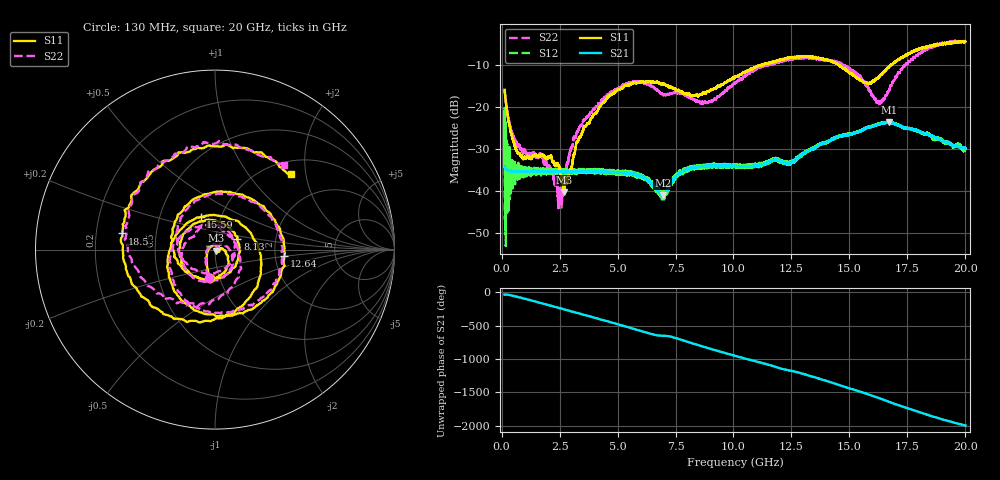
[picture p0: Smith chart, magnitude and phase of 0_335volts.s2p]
!Created with skrf (http://scikit-rf.org).
# GHz S RI R 50.0
!freq ReS11 ImS11 ReS21 ImS21 ReS12 ImS12 ReS22 ImS22
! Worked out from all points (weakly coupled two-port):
!   20013 points, 130 MHz to 20 GHz, reference 50 ohm
!   highest |S21| = -23.65 dB at 16.69 GHz (marker M1); lowest = -41.0 dB at 6.953 GHz (marker M2)
!   lowest |S11| = -40.2 dB at 2.691 GHz (marker M3), VSWR 1.02, Z = 50.8 - j0.573 ohm
!   |S11| at or under -10 dB: start of sweep to 11.27 GHz; 14.52 GHz to 16.79 GHz (2.267 GHz wide, 14.5 % of centre); 16.8052 GHz to 16.82683 GHz (21.63 MHz wide, 0.129 % of centre) (the widest 3 of 10)
!   |S22| runs from -44.1 to -4.2 dB; largest |S21 - S12| = 0.1
!   S11 on the Smith chart (normalised r, x): 130 MHz: 0.90, -0.29; 8.13 GHz: 1.27, +0.16; 12.64 GHz: 2.25, -0.19; 15.59 GHz: 0.80, +0.31; 18.5 GHz: 0.31, +0.08; 20 GHz: 1.31, +1.65
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0.13  -0.0282 -0.157  0.0159 -0.0117  0.0473 -0.0329  -0.0358 -0.1576
0.305  -0.0473 -0.0476  0.0135 -0.0113  0.00915 -0.0154  -0.0529 -0.0483
0.686  -0.0249 0.0139  0.00583 -0.016  0.00455 -0.0163  -0.0314 0.0165
2.516  0.0154 -0.00952  -0.00871 0.0147  -0.00833 0.0147  0.0102 0.00319
2.691  0.008 -0.00564  -0.00428 0.0164  -0.00394 0.0162  0.00597 0.0132
3.442  0.0467 0.000553  0.0143 0.00946  0.0141 0.00964  0.0551 0.023
5.315  -0.0543 -0.1693  -0.0142 -0.00826  -0.015 -0.00787  -0.0381 -0.1797
6.754  -0.1722 0.0911  0.00306 0.0096  0.00299 0.00997  -0.1409 0.0621
6.953  -0.1316 0.1321  0.0034 0.00821  0.0031 0.00852  -0.12 0.0713
8.13  0.1244 0.0607  0.0153 -0.0108  0.0155 -0.0114  0.0648 0.1102
10.065  -0.2217 -0.0447  -0.0118 0.0158  -0.0119 0.0152  -0.1865 -0.0428
11.407  0.0332 0.3243  0.0214 0.00132  0.0226 0.000838  0.00839 0.3093
12.639  0.3869 -0.0356  -0.00756 -0.0218  -0.00693 -0.0213  0.3706 0.0569
13.377  0.216 -0.3237  -0.0314 0.000985  -0.0315 0.000714  0.295 -0.237
14.609  -0.2483 -0.1709  0.0327 0.0308  0.0329 0.0311  -0.1629 -0.2838
15.587  -0.0794 0.1832  0.0241 -0.0479  0.0234 -0.048  -0.1862 0.0804
16.689  0.2493 -0.1597  -0.0621 0.0215  -0.0614 0.0213  0.1398 -0.0607
16.693  0.2466 -0.1604  -0.0618 0.0224  -0.0613 0.0221  0.1414 -0.0636
17.611  -0.1919 -0.3853  0.036 0.0413  0.0365 0.0414  -0.1849 -0.2926
18.495  -0.5188 0.09  0.029 -0.0357  0.0302 -0.0347  -0.4939 0.0908
19.278  -0.142 0.5464  -0.0242 -0.0276  -0.0248 -0.0284  -0.1663 0.5496
20  0.4279 0.4096  -0.031 0.00878  -0.0302 0.00821  0.3918 0.4716
